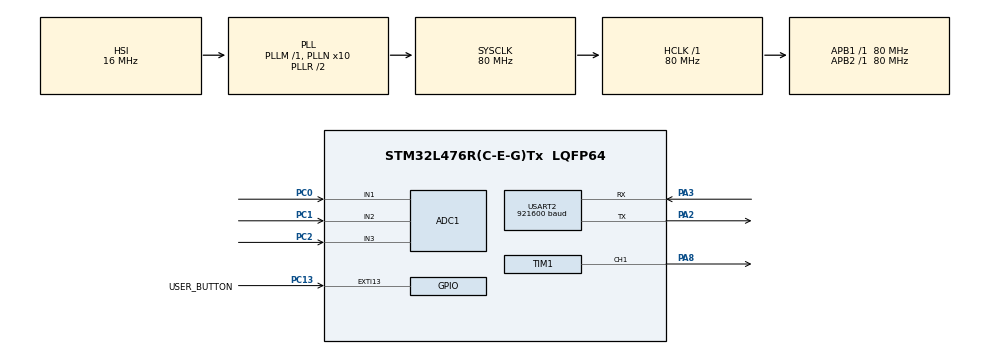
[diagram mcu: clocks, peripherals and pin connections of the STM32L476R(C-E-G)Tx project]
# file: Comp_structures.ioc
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ADC1.Channel-0\#ChannelRegularConversion=ADC_CHANNEL_1
ADC1.Channel-1\#ChannelRegularConversion=ADC_CHANNEL_2
ADC1.ContinuousConvMode=ENABLE
ADC1.NbrOfConversion=2
ADC1.NbrOfConversionFlag=1
ADC1.OffsetNumber-0\#ChannelRegularConversion=ADC_OFFSET_NONE
ADC1.OffsetNumber-1\#ChannelRegularConversion=ADC_OFFSET_NONE
ADC1.Rank-0\#ChannelRegularConversion=1
ADC1.Rank-1\#ChannelRegularConversion=2
ADC1.SamplingTime-0\#ChannelRegularConversion=ADC_SAMPLETIME_2CYCLES_5
ADC1.SamplingTime-1\#ChannelRegularConversion=ADC_SAMPLETIME_2CYCLES_5
ADC1.SingleDiff-1\#ChannelRegularConversion=ADC_DIFFERENTIAL_ENDED
ADC1.master=1
Dma.Request0=USART2_TX
Dma.USART2_TX.0.Direction=DMA_MEMORY_TO_PERIPH
Dma.USART2_TX.0.Instance=DMA1_Channel7
Dma.USART2_TX.0.MemDataAlignment=DMA_MDATAALIGN_BYTE
Dma.USART2_TX.0.MemInc=DMA_MINC_ENABLE
Dma.USART2_TX.0.Mode=DMA_NORMAL
Dma.USART2_TX.0.PeriphDataAlignment=DMA_PDATAALIGN_BYTE
Dma.USART2_TX.0.PeriphInc=DMA_PINC_DISABLE
Dma.USART2_TX.0.Priority=DMA_PRIORITY_HIGH
Mcu.Family=STM32L4
Mcu.Name=STM32L476R(C-E-G)Tx
Mcu.Package=LQFP64
NVIC.DMA1_Channel7_IRQn=true\:0\:0\:false\:false\:true\:false\:true\:true
NVIC.EXTI15_10_IRQn=true\:0\:0\:false\:false\:true\:true\:true\:true
NVIC.PriorityGroup=NVIC_PRIORITYGROUP_4
NVIC.TIM7_IRQn=true\:0\:0\:false\:false\:true\:true\:true\:true
NVIC.USART2_IRQn=true\:0\:0\:false\:false\:true\:true\:true\:true
PA2.Mode=Asynchronous
PA2.Signal=USART2_TX
PA3.Mode=Asynchronous
PA3.Signal=USART2_RX
PA8.Signal=S_TIM1_CH1
PC0.Signal=ADCx_IN1
PC1.Signal=ADCx_IN2
PC13.GPIO_Label=USER_BUTTON
PC13.Signal=GPXTI13
PC2.Signal=ADCx_IN3
ProjectManager.HeapSize=0x200
ProjectManager.StackSize=0x400
ProjectManager.TargetToolchain=STM32CubeIDE
RCC.ADCFreq_Value=64000000
RCC.AHBFreq_Value=80000000
RCC.APB1Freq_Value=80000000
RCC.APB1TimFreq_Value=80000000
RCC.APB2Freq_Value=80000000
RCC.APB2TimFreq_Value=80000000
RCC.CortexFreq_Value=80000000
RCC.HCLKFreq_Value=80000000
RCC.HSE_VALUE=8000000
RCC.HSI_VALUE=16000000
RCC.LSE_VALUE=32768
RCC.MSI_VALUE=4000000
RCC.PLLN=10
RCC.PLLSourceVirtual=RCC_PLLSOURCE_HSI
RCC.PREFETCH_ENABLE=1
RCC.SYSCLKFreq_VALUE=80000000
RCC.SYSCLKSource=RCC_SYSCLKSOURCE_PLLCLK
RCC.USBFreq_Value=64000000
RCC.VCOOutputFreq_Value=160000000
SH.ADCx_IN1.0=ADC1_IN1,IN1-Single-Ended
SH.ADCx_IN2.0=ADC1_IN2,IN2-Differential
SH.ADCx_IN3.0=ADC1_IN3,IN2-Differential
SH.S_TIM1_CH1.0=TIM1_CH1,PWM Generation1 CH1
TIM1.Channel-PWM\ Generation1\ CH1=TIM_CHANNEL_1
TIM1.Period=100-1
TIM1.Prescaler=800-1
TIM7.Period=10000-1
TIM7.Prescaler=8000-1
USART2.BaudRate=921600
USART2.VirtualMode-Asynchronous=VM_ASYNC
VP_TIM1_VS_ClockSourceINT.Mode=Internal
VP_TIM7_VS_ClockSourceINT.Mode=Enable_Timer
board=NUCLEO-L476RG

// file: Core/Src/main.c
/* USER CODE BEGIN Header */
/**
  ******************************************************************************
  * @file           : main.c
  * @brief          : Main program body
  ******************************************************************************
  * @attention
  *
  * Copyright (c) 2023 STMicroelectronics.
  * All rights reserved.
  *
  * This software is licensed under terms that can be found in the LICENSE file
  * in the root directory of this software component.
  * If no LICENSE file comes with this software, it is provided AS-IS.
  *
  ******************************************************************************
  */
/* USER CODE END Header */
#include "main.h"

/* USER CODE BEGIN Includes */
#include <stdio.h>
/* USER CODE END Includes */

ADC_HandleTypeDef hadc1;

TIM_HandleTypeDef htim1;
TIM_HandleTypeDef htim7;

UART_HandleTypeDef huart2;
DMA_HandleTypeDef hdma_usart2_tx;

void SystemClock_Config(void);
static void MX_GPIO_Init(void);
static void MX_DMA_Init(void);
static void MX_USART2_UART_Init(void);
static void MX_TIM7_Init(void);
static void MX_TIM1_Init(void);
static void MX_ADC1_Init(void);

/* USER CODE BEGIN 0 */
uint8_t Rx_data[8];
uint8_t Tx_busy=0;

int _write(int file, char *ptr, int len)
{
	while(Tx_busy != 0){/* Wait*/}
	HAL_UART_Transmit_DMA(&huart2,(uint8_t*)ptr,len);
	Tx_busy=1;

	return len;
}
void HAL_UART_TxHalfCpltCallback(UART_HandleTypeDef *huart)
{
	HAL_GPIO_TogglePin(GPIOA,GPIO_PIN_5); // toggle the led
}
void HAL_UART_RxCpltCallback(UART_HandleTypeDef *huart) //When the interruption the function is called
{
	printf("Receive: [%s]\r\n", Rx_data);
	HAL_UART_Receive_IT(&huart2,Rx_data,1);// receive the data back to call the function again if necessary
	}

void HAL_UART_TxCpltCallback(UART_HandleTypeDef *huart) //When the interruption the function is called
{
	Tx_busy=0;
}
void HAL_TIM_PeriodElapsedCallback(TIM_HandleTypeDef *htim){
	static uint32_t counter = 0;

	printf("counter: %ld\r\n",counter++);
}

void update_adc_channel(uint32_t new_channel)
{
	ADC_ChannelConfTypeDef sConfig = {0};
	/** Configure Regular Channel
	  */
	sConfig.Channel = new_channel;
	sConfig.Rank = ADC_REGULAR_RANK_1;
	sConfig.SamplingTime = ADC_SAMPLETIME_2CYCLES_5;
	sConfig.SingleDiff = ADC_SINGLE_ENDED;
	sConfig.OffsetNumber = ADC_OFFSET_NONE;
	sConfig.Offset = 0;
	if (HAL_ADC_ConfigChannel(&hadc1, &sConfig) != HAL_OK)
	{
		Error_Handler();
	}
}

/* USER CODE END 0 */

int main(void)
{

  /* MCU Configuration--------------------------------------------------------*/

  /* Reset of all peripherals, Initializes the Flash interface and the Systick. */
  HAL_Init();

  /* Configure the system clock */
  SystemClock_Config();

  /* Initialize all configured peripherals */
  MX_GPIO_Init();
  MX_DMA_Init();
  MX_USART2_UART_Init();
  MX_TIM7_Init();
  MX_TIM1_Init();
  MX_ADC1_Init();
  /* USER CODE BEGIN 2 */

//
//  for (uint8_t idx = 0; idx <= 0x0F; idx ++) //print a count
//	     printf("IDX 0x%02X\r\n",idx);

  HAL_UART_Receive_IT(&huart2,Rx_data,1); //We declare the interruption with the uart receive
  HAL_TIM_Base_Start_IT(&htim7);
  TIM1->CCR1 = 20; //to set the compare channel
  HAL_TIM_PWM_Start(&htim1, TIM_CHANNEL_1);

  /* USER CODE END 2 */

  /* Infinite loop */
  /* USER CODE BEGIN WHILE */
  while (1)
  {
	//	  HAL_ADC_Start(&hadc1);
	//	  HAL_ADC_PollForConversion(&hadc1,10);
	//	  uint16_t adc_value1 = HAL_ADC_GetValue(&hadc1);
	//	  float adc_voltage = (adc_value1/4096.0)*3.3;
	//
	//	  HAL_ADC_PollForConversion(&hadc1,10);
	//	  uint16_t adc_value2 = HAL_ADC_GetValue(&hadc1);
	//	  float adc_voltage2 = (adc_value2/4096.0)*3.3;
	//	  printf("ADC Data %f,%f \r\n", adc_voltage,adc_voltage2);

	  	update_adc_channel(ADC_CHANNEL_1);
		HAL_ADC_Start(&hadc1);
		HAL_ADC_PollForConversion(&hadc1, 10);
		uint16_t adc_value = HAL_ADC_GetValue(&hadc1);
		HAL_ADC_Stop(&hadc1);

		update_adc_channel(ADC_CHANNEL_2);
		HAL_ADC_Start(&hadc1);
		HAL_ADC_PollForConversion(&hadc1, 10);
		uint16_t adc_value2 = HAL_ADC_GetValue(&hadc1);
		HAL_ADC_Stop(&hadc1);

		float adc_voltage = (adc_value / 4096.0) * 3.3;
		float adc_voltage2 = (adc_value2 / 4096.0) * 3.3;
		printf("ADC Reading: %f, %f\r\n", adc_voltage, adc_voltage2);
		HAL_Delay(1000);
    /* USER CODE END WHILE */

  }
}

void SystemClock_Config(void)
{
  RCC_OscInitTypeDef RCC_OscInitStruct = {0};
  RCC_ClkInitTypeDef RCC_ClkInitStruct = {0};

  /** Configure the main internal regulator output voltage
  */
  if (HAL_PWREx_ControlVoltageScaling(PWR_REGULATOR_VOLTAGE_SCALE1) != HAL_OK)
  {
    Error_Handler();
  }

  /** Initializes the RCC Oscillators according to the specified parameters
  * in the RCC_OscInitTypeDef structure.
  */
  RCC_OscInitStruct.OscillatorType = RCC_OSCILLATORTYPE_HSI;
  RCC_OscInitStruct.HSIState = RCC_HSI_ON;
  RCC_OscInitStruct.HSICalibrationValue = RCC_HSICALIBRATION_DEFAULT;
  RCC_OscInitStruct.PLL.PLLState = RCC_PLL_ON;
  RCC_OscInitStruct.PLL.PLLSource = RCC_PLLSOURCE_HSI;
  RCC_OscInitStruct.PLL.PLLM = 1;
  RCC_OscInitStruct.PLL.PLLN = 10;
  RCC_OscInitStruct.PLL.PLLP = RCC_PLLP_DIV7;
  RCC_OscInitStruct.PLL.PLLQ = RCC_PLLQ_DIV2;
  RCC_OscInitStruct.PLL.PLLR = RCC_PLLR_DIV2;
  if (HAL_RCC_OscConfig(&RCC_OscInitStruct) != HAL_OK)
  {
    Error_Handler();
  }

  /** Initializes the CPU, AHB and APB buses clocks
  */
  RCC_ClkInitStruct.ClockType = RCC_CLOCKTYPE_HCLK|RCC_CLOCKTYPE_SYSCLK
                              |RCC_CLOCKTYPE_PCLK1|RCC_CLOCKTYPE_PCLK2;
  RCC_ClkInitStruct.SYSCLKSource = RCC_SYSCLKSOURCE_PLLCLK;
  RCC_ClkInitStruct.AHBCLKDivider = RCC_SYSCLK_DIV1;
  RCC_ClkInitStruct.APB1CLKDivider = RCC_HCLK_DIV1;
  RCC_ClkInitStruct.APB2CLKDivider = RCC_HCLK_DIV1;

  if (HAL_RCC_ClockConfig(&RCC_ClkInitStruct, FLASH_LATENCY_4) != HAL_OK)
  {
    Error_Handler();
  }
}

static void MX_ADC1_Init(void)
{

  ADC_MultiModeTypeDef multimode = {0};
  ADC_ChannelConfTypeDef sConfig = {0};

  /** Common config
  */
  hadc1.Instance = ADC1;
  hadc1.Init.ClockPrescaler = ADC_CLOCK_ASYNC_DIV1;
  hadc1.Init.Resolution = ADC_RESOLUTION_12B;
  hadc1.Init.DataAlign = ADC_DATAALIGN_RIGHT;
  hadc1.Init.ScanConvMode = ADC_SCAN_ENABLE;
  hadc1.Init.EOCSelection = ADC_EOC_SINGLE_CONV;
  hadc1.Init.LowPowerAutoWait = DISABLE;
  hadc1.Init.ContinuousConvMode = ENABLE;
  hadc1.Init.NbrOfConversion = 2;
  hadc1.Init.DiscontinuousConvMode = DISABLE;
  hadc1.Init.ExternalTrigConv = ADC_SOFTWARE_START;
  hadc1.Init.ExternalTrigConvEdge = ADC_EXTERNALTRIGCONVEDGE_NONE;
  hadc1.Init.DMAContinuousRequests = DISABLE;
  hadc1.Init.Overrun = ADC_OVR_DATA_PRESERVED;
  hadc1.Init.OversamplingMode = DISABLE;
  if (HAL_ADC_Init(&hadc1) != HAL_OK)
  {
    Error_Handler();
  }

  /** Configure the ADC multi-mode
  */
  multimode.Mode = ADC_MODE_INDEPENDENT;
  if (HAL_ADCEx_MultiModeConfigChannel(&hadc1, &multimode) != HAL_OK)
  {
    Error_Handler();
  }

  /** Configure Regular Channel
  */
  sConfig.Channel = ADC_CHANNEL_1;
  sConfig.Rank = ADC_REGULAR_RANK_1;
  sConfig.SamplingTime = ADC_SAMPLETIME_2CYCLES_5;
  sConfig.SingleDiff = ADC_SINGLE_ENDED;
  sConfig.OffsetNumber = ADC_OFFSET_NONE;
  sConfig.Offset = 0;
  if (HAL_ADC_ConfigChannel(&hadc1, &sConfig) != HAL_OK)
  {
    Error_Handler();
  }

  /** Configure Regular Channel
  */
  sConfig.Channel = ADC_CHANNEL_2;
  sConfig.Rank = ADC_REGULAR_RANK_2;
  sConfig.SingleDiff = ADC_DIFFERENTIAL_ENDED;
  if (HAL_ADC_ConfigChannel(&hadc1, &sConfig) != HAL_OK)
  {
    Error_Handler();
  }

}

static void MX_TIM1_Init(void)
{

  TIM_ClockConfigTypeDef sClockSourceConfig = {0};
  TIM_MasterConfigTypeDef sMasterConfig = {0};
  TIM_OC_InitTypeDef sConfigOC = {0};
  TIM_BreakDeadTimeConfigTypeDef sBreakDeadTimeConfig = {0};

  htim1.Instance = TIM1;
  htim1.Init.Prescaler = 800-1;
  htim1.Init.CounterMode = TIM_COUNTERMODE_UP;
  htim1.Init.Period = 100-1;
  htim1.Init.ClockDivision = TIM_CLOCKDIVISION_DIV1;
  htim1.Init.RepetitionCounter = 0;
  htim1.Init.AutoReloadPreload = TIM_AUTORELOAD_PRELOAD_DISABLE;
  if (HAL_TIM_Base_Init(&htim1) != HAL_OK)
  {
    Error_Handler();
  }
  sClockSourceConfig.ClockSource = TIM_CLOCKSOURCE_INTERNAL;
  if (HAL_TIM_ConfigClockSource(&htim1, &sClockSourceConfig) != HAL_OK)
  {
    Error_Handler();
  }
  if (HAL_TIM_PWM_Init(&htim1) != HAL_OK)
  {
    Error_Handler();
  }
  sMasterConfig.MasterOutputTrigger = TIM_TRGO_RESET;
  sMasterConfig.MasterOutputTrigger2 = TIM_TRGO2_RESET;
  sMasterConfig.MasterSlaveMode = TIM_MASTERSLAVEMODE_DISABLE;
  if (HAL_TIMEx_MasterConfigSynchronization(&htim1, &sMasterConfig) != HAL_OK)
  {
    Error_Handler();
  }
  sConfigOC.OCMode = TIM_OCMODE_PWM1;
  sConfigOC.Pulse = 0;
  sConfigOC.OCPolarity = TIM_OCPOLARITY_HIGH;
  sConfigOC.OCNPolarity = TIM_OCNPOLARITY_HIGH;
  sConfigOC.OCFastMode = TIM_OCFAST_DISABLE;
  sConfigOC.OCIdleState = TIM_OCIDLESTATE_RESET;
  sConfigOC.OCNIdleState = TIM_OCNIDLESTATE_RESET;
  if (HAL_TIM_PWM_ConfigChannel(&htim1, &sConfigOC, TIM_CHANNEL_1) != HAL_OK)
  {
    Error_Handler();
  }
  sBreakDeadTimeConfig.OffStateRunMode = TIM_OSSR_DISABLE;
  sBreakDeadTimeConfig.OffStateIDLEMode = TIM_OSSI_DISABLE;
  sBreakDeadTimeConfig.LockLevel = TIM_LOCKLEVEL_OFF;
  sBreakDeadTimeConfig.DeadTime = 0;
  sBreakDeadTimeConfig.BreakState = TIM_BREAK_DISABLE;
  sBreakDeadTimeConfig.BreakPolarity = TIM_BREAKPOLARITY_HIGH;
  sBreakDeadTimeConfig.BreakFilter = 0;
  sBreakDeadTimeConfig.Break2State = TIM_BREAK2_DISABLE;
  sBreakDeadTimeConfig.Break2Polarity = TIM_BREAK2POLARITY_HIGH;
  sBreakDeadTimeConfig.Break2Filter = 0;
  sBreakDeadTimeConfig.AutomaticOutput = TIM_AUTOMATICOUTPUT_DISABLE;
  if (HAL_TIMEx_ConfigBreakDeadTime(&htim1, &sBreakDeadTimeConfig) != HAL_OK)
  {
    Error_Handler();
  }
  HAL_TIM_MspPostInit(&htim1);

}

static void MX_TIM7_Init(void)
{

  TIM_MasterConfigTypeDef sMasterConfig = {0};

  htim7.Instance = TIM7;
  htim7.Init.Prescaler = 8000-1;
  htim7.Init.CounterMode = TIM_COUNTERMODE_UP;
  htim7.Init.Period = 10000-1;
  htim7.Init.AutoReloadPreload = TIM_AUTORELOAD_PRELOAD_DISABLE;
  if (HAL_TIM_Base_Init(&htim7) != HAL_OK)
  {
    Error_Handler();
  }
  sMasterConfig.MasterOutputTrigger = TIM_TRGO_RESET;
  sMasterConfig.MasterSlaveMode = TIM_MASTERSLAVEMODE_DISABLE;
  if (HAL_TIMEx_MasterConfigSynchronization(&htim7, &sMasterConfig) != HAL_OK)
  {
    Error_Handler();
  }

}

static void MX_USART2_UART_Init(void)
{

  huart2.Instance = USART2;
  huart2.Init.BaudRate = 921600;
  huart2.Init.WordLength = UART_WORDLENGTH_8B;
  huart2.Init.StopBits = UART_STOPBITS_1;
  huart2.Init.Parity = UART_PARITY_NONE;
  huart2.Init.Mode = UART_MODE_TX_RX;
  huart2.Init.HwFlowCtl = UART_HWCONTROL_NONE;
  huart2.Init.OverSampling = UART_OVERSAMPLING_16;
  huart2.Init.OneBitSampling = UART_ONE_BIT_SAMPLE_DISABLE;
  huart2.AdvancedInit.AdvFeatureInit = UART_ADVFEATURE_NO_INIT;
  if (HAL_UART_Init(&huart2) != HAL_OK)
  {
    Error_Handler();
  }

}

static void MX_DMA_Init(void)
{

  /* DMA controller clock enable */
  __HAL_RCC_DMA1_CLK_ENABLE();

  /* DMA interrupt init */
  /* DMA1_Channel7_IRQn interrupt configuration */
  HAL_NVIC_SetPriority(DMA1_Channel7_IRQn, 0, 0);
  HAL_NVIC_EnableIRQ(DMA1_Channel7_IRQn);

}

static void MX_GPIO_Init(void)
{
  GPIO_InitTypeDef GPIO_InitStruct = {0};

  /* GPIO Ports Clock Enable */
  __HAL_RCC_GPIOC_CLK_ENABLE();
  __HAL_RCC_GPIOA_CLK_ENABLE();

  /*Configure GPIO pin : USER_BUTTON_Pin */
  GPIO_InitStruct.Pin = USER_BUTTON_Pin;
  GPIO_InitStruct.Mode = GPIO_MODE_IT_RISING;
  GPIO_InitStruct.Pull = GPIO_NOPULL;
  HAL_GPIO_Init(USER_BUTTON_GPIO_Port, &GPIO_InitStruct);

  /* EXTI interrupt init*/
  HAL_NVIC_SetPriority(EXTI15_10_IRQn, 0, 0);
  HAL_NVIC_EnableIRQ(EXTI15_10_IRQn);

}

void Error_Handler(void)
{
  __disable_irq();
  while (1)
  {
  }
}
